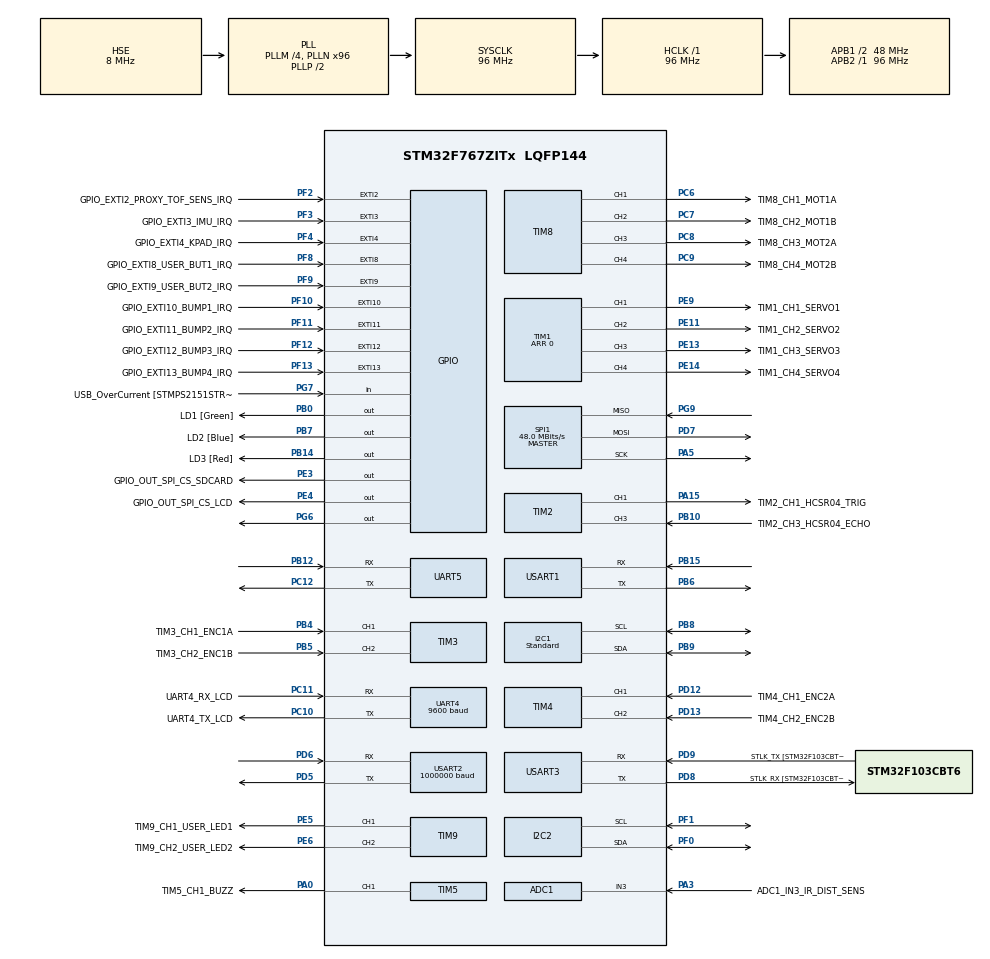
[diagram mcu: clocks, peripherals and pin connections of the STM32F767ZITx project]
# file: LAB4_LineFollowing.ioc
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ADC1.Channel-1\#ChannelRegularConversion=ADC_CHANNEL_3
ADC1.NbrOfConversionFlag=1
ADC1.Rank-1\#ChannelRegularConversion=1
ADC1.SamplingTime-1\#ChannelRegularConversion=ADC_SAMPLETIME_3CYCLES
ADC1.master=1
I2C1.I2C_Speed_Mode=I2C_Standard
I2C1.Timing=0x20303E5D
I2C2.Timing=0x20303E5D
Mcu.Family=STM32F7
Mcu.Name=STM32F767ZITx
Mcu.Package=LQFP144
Mcu.UserConstants=TIM3_ARR_VALUE,3839;TIM4_ARR_VALUE,3839;TIM8_PSC_VALUE,959;TIM8_ARR_VALUE,399;TIM6_PSC_VALUE,959;TIM6_ARR_VALUE,999;TIM1_PSC_VALUE,959;TIM1_ARR_VALUE,1999
NVIC.EXTI9_5_IRQn=true\:0\:0\:false\:false\:true\:true\:true\:true
NVIC.PriorityGroup=NVIC_PRIORITYGROUP_4
NVIC.TIM6_DAC_IRQn=true\:1\:0\:true\:false\:true\:true\:true\:true
PA0/WKUP.GPIO_Label=TIM5_CH1_BUZZ
PA0/WKUP.Signal=S_TIM5_CH1
PA1.GPIO_Label=RMII_REF_CLK [LAN8742A-CZ-TR_REFCLK0]
PA1.Signal=ETH_REF_CLK
PA10.GPIO_Label=USB_ID
PA10.Signal=USB_OTG_FS_ID
PA11.GPIO_Label=USB_DM
PA11.Signal=USB_OTG_FS_DM
PA12.GPIO_Label=USB_DP
PA12.Signal=USB_OTG_FS_DP
PA13.GPIO_Label=TMS
PA13.Mode=Serial_Wire
PA13.Signal=SYS_JTMS-SWDIO
PA14.GPIO_Label=TCK
PA14.Mode=Serial_Wire
PA14.Signal=SYS_JTCK-SWCLK
PA15.GPIO_Label=TIM2_CH1_HCSR04_TRIG
PA15.Signal=S_TIM2_CH1_ETR
PA2.GPIO_Label=RMII_MDIO [LAN8742A-CZ-TR_MDIO]
PA2.Signal=ETH_MDIO
PA3.GPIO_Label=ADC1_IN3_IR_DIST_SENS
PA3.Signal=ADCx_IN3
PA5.Mode=Full_Duplex_Master
PA5.Signal=SPI1_SCK
PA7.GPIO_Label=RMII_CRS_DV [LAN8742A-CZ-TR_CRS_DV]
PA7.Signal=ETH_CRS_DV
PA8.GPIO_Label=USB_SOF [TP1]
PA8.Signal=USB_OTG_FS_SOF
PA9.GPIO_Label=USB_VBUS
PA9.Signal=USB_OTG_FS_VBUS
PB0.GPIO_Label=LD1 [Green]
PB0.Signal=GPIO_Output
PB10.GPIO_Label=TIM2_CH3_HCSR04_ECHO
PB10.Signal=S_TIM2_CH3
PB12.Mode=Asynchronous
PB12.Signal=UART5_RX
PB13.GPIO_Label=RMII_TXD1 [LAN8742A-CZ-TR_TXD1]
PB13.Signal=ETH_TXD1
PB14.GPIO_Label=LD3 [Red]
PB14.Signal=GPIO_Output
PB15.Mode=Asynchronous
PB15.Signal=USART1_RX
PB3.GPIO_Label=SWO
PB3.Signal=SYS_JTDO-SWO
PB4.GPIO_Label=TIM3_CH1_ENC1A
PB4.Signal=S_TIM3_CH1
PB5.GPIO_Label=TIM3_CH2_ENC1B
PB5.Signal=S_TIM3_CH2
PB6.Mode=Asynchronous
PB6.Signal=USART1_TX
PB7.GPIO_Label=LD2 [Blue]
PB7.Signal=GPIO_Output
PB8.GPIO_Pu=GPIO_PULLUP
PB8.Mode=I2C
PB8.Signal=I2C1_SCL
PB9.GPIO_Pu=GPIO_PULLUP
PB9.Mode=I2C
PB9.Signal=I2C1_SDA
PC1.GPIO_Label=RMII_MDC [LAN8742A-CZ-TR_MDC]
PC1.Signal=ETH_MDC
PC10.GPIO_Label=UART4_TX_LCD
PC10.Mode=Asynchronous
PC10.Signal=UART4_TX
PC11.GPIO_Label=UART4_RX_LCD
PC11.Mode=Asynchronous
PC11.Signal=UART4_RX
PC12.Mode=Asynchronous
PC12.Signal=UART5_TX
PC14/OSC32_IN.Mode=LSE-External-Oscillator
PC14/OSC32_IN.Signal=RCC_OSC32_IN
PC15/OSC32_OUT.Mode=LSE-External-Oscillator
PC15/OSC32_OUT.Signal=RCC_OSC32_OUT
PC4.GPIO_Label=RMII_RXD0 [LAN8742A-CZ-TR_RXD0]
PC4.Signal=ETH_RXD0
PC5.GPIO_Label=RMII_RXD1 [LAN8742A-CZ-TR_RXD1]
PC5.Signal=ETH_RXD1
PC6.GPIO_Label=TIM8_CH1_MOT1A
PC6.Signal=S_TIM8_CH1
PC7.GPIO_Label=TIM8_CH2_MOT1B
PC7.Signal=S_TIM8_CH2
PC8.GPIO_Label=TIM8_CH3_MOT2A
PC8.Signal=S_TIM8_CH3
PC9.GPIO_Label=TIM8_CH4_MOT2B
PC9.Signal=S_TIM8_CH4
PD12.GPIO_Label=TIM4_CH1_ENC2A
PD12.Signal=S_TIM4_CH1
PD13.GPIO_Label=TIM4_CH2_ENC2B
PD13.Signal=S_TIM4_CH2
PD5.Mode=Asynchronous
PD5.Signal=USART2_TX
PD6.Mode=Asynchronous
PD6.Signal=USART2_RX
PD7.Mode=Full_Duplex_Master
PD7.Signal=SPI1_MOSI
PD8.GPIO_Label=STLK_RX [STM32F103CBT6_PA3]
PD8.Mode=Asynchronous
PD8.Signal=USART3_TX
PD9.GPIO_Label=STLK_TX [STM32F103CBT6_PA2]
PD9.Mode=Asynchronous
PD9.Signal=USART3_RX
PE11.GPIO_Label=TIM1_CH2_SERVO2
PE11.Signal=S_TIM1_CH2
PE13.GPIO_Label=TIM1_CH3_SERVO3
PE13.Signal=S_TIM1_CH3
PE14.GPIO_Label=TIM1_CH4_SERVO4
PE14.Signal=S_TIM1_CH4
PE3.GPIO_Label=GPIO_OUT_SPI_CS_SDCARD
PE3.Signal=GPIO_Output
PE4.GPIO_Label=GPIO_OUT_SPI_CS_LCD
PE4.Signal=GPIO_Output
PE5.GPIO_Label=TIM9_CH1_USER_LED1
PE5.Signal=S_TIM9_CH1
PE6.GPIO_Label=TIM9_CH2_USER_LED2
PE6.Signal=S_TIM9_CH2
PE9.GPIO_Label=TIM1_CH1_SERVO1
PE9.Signal=S_TIM1_CH1
PF0.GPIO_Pu=GPIO_PULLUP
PF0.Mode=I2C
PF0.Signal=I2C2_SDA
PF1.GPIO_Pu=GPIO_PULLUP
PF1.Mode=I2C
PF1.Signal=I2C2_SCL
PF10.GPIO_Label=GPIO_EXTI10_BUMP1_IRQ
PF10.Signal=GPXTI10
PF11.GPIO_Label=GPIO_EXTI11_BUMP2_IRQ
PF11.Signal=GPXTI11
PF12.GPIO_Label=GPIO_EXTI12_BUMP3_IRQ
PF12.Signal=GPXTI12
PF13.GPIO_Label=GPIO_EXTI13_BUMP4_IRQ
PF13.Signal=GPXTI13
PF2.GPIO_Label=GPIO_EXTI2_PROXY_TOF_SENS_IRQ
PF2.Signal=GPXTI2
PF3.GPIO_Label=GPIO_EXTI3_IMU_IRQ
PF3.Signal=GPXTI3
PF4.GPIO_Label=GPIO_EXTI4_KPAD_IRQ
PF4.Signal=GPXTI4
PF8.GPIO_Label=GPIO_EXTI8_USER_BUT1_IRQ
PF8.Signal=GPXTI8
PF9.GPIO_Label=GPIO_EXTI9_USER_BUT2_IRQ
PF9.Signal=GPXTI9
PG11.GPIO_Label=RMII_TX_EN [LAN8742A-CZ-TR_TXEN]
PG11.Signal=ETH_TX_EN
PG13.GPIO_Label=RMII_TXD0 [LAN8742A-CZ-TR_TXD0]
PG13.Signal=ETH_TXD0
PG6.Signal=GPIO_Output
PG7.GPIO_Label=USB_OverCurrent [STMPS2151STR_FAULT]
PG7.Signal=GPIO_Input
PG9.Mode=Full_Duplex_Master
PG9.Signal=SPI1_MISO
PH0/OSC_IN.GPIO_Label=MCO [STM32F103CBT6_PA8]
PH0/OSC_IN.Mode=HSE-External-Clock-Source
PH0/OSC_IN.Signal=RCC_OSC_IN
PH1/OSC_OUT.Mode=HSE-External-Clock-Source
PH1/OSC_OUT.Signal=RCC_OSC_OUT
ProjectManager.HeapSize=0x200
ProjectManager.StackSize=0x400
ProjectManager.TargetToolchain=STM32CubeIDE
RCC.48MHZClocksFreq_Value=24000000
RCC.AHBFreq_Value=96000000
RCC.APB1CLKDivider=RCC_HCLK_DIV2
RCC.APB1Freq_Value=48000000
RCC.APB1TimFreq_Value=96000000
RCC.APB2Freq_Value=96000000
RCC.APB2TimFreq_Value=96000000
RCC.CortexFreq_Value=96000000
RCC.HCLKFreq_Value=96000000
RCC.HSE_VALUE=8000000
RCC.HSI_VALUE=16000000
RCC.PLLM=4
RCC.PLLMUL=RCC_PLL_MUL9
RCC.PLLN=96
RCC.PLLQ=4
RCC.PLLSourceVirtual=RCC_PLLSOURCE_HSE
RCC.PRESCALERUSB=RCC_USBCLKSOURCE_PLL_DIV1_5
RCC.SYSCLKFreq_VALUE=96000000
RCC.SYSCLKSource=RCC_SYSCLKSOURCE_PLLCLK
RCC.SYSCLKSourceVirtual=RCC_SYSCLKSOURCE_PLLCLK
RCC.USBFreq_Value=48000000
RCC.VCOOutputFreq_Value=192000000
SH.ADCx_IN3.0=ADC1_IN3,IN3
SH.S_TIM1_CH1.0=TIM1_CH1,Forced Output1 CH1
SH.S_TIM1_CH2.0=TIM1_CH2,Forced Output2 CH2
SH.S_TIM1_CH3.0=TIM1_CH3,Forced Output3 CH3
SH.S_TIM1_CH4.0=TIM1_CH4,Forced Output4 CH4
SH.S_TIM2_CH1_ETR.0=TIM2_CH1,PWM Generation1 CH1
SH.S_TIM2_CH3.0=TIM2_CH3,Input_Capture3_from_TI3
SH.S_TIM3_CH1.0=TIM3_CH1,Encoder_Interface
SH.S_TIM3_CH2.0=TIM3_CH2,Encoder_Interface
SH.S_TIM4_CH1.0=TIM4_CH1,Encoder_Interface
SH.S_TIM4_CH2.0=TIM4_CH2,Encoder_Interface
SH.S_TIM5_CH1.0=TIM5_CH1,PWM Generation1 CH1
SH.S_TIM8_CH1.0=TIM8_CH1,PWM Generation1 CH1
SH.S_TIM8_CH2.0=TIM8_CH2,PWM Generation2 CH2
SH.S_TIM8_CH3.0=TIM8_CH3,PWM Generation3 CH3
SH.S_TIM8_CH4.0=TIM8_CH4,PWM Generation4 CH4
SH.S_TIM9_CH1.0=TIM9_CH1,PWM Generation1 CH1
SH.S_TIM9_CH2.0=TIM9_CH2,PWM Generation2 CH2
SPI1.CalculateBaudRate=48.0 MBits/s
SPI1.Direction=SPI_DIRECTION_2LINES
SPI1.Mode=SPI_MODE_MASTER
SPI1.VirtualType=VM_MASTER
TIM1.Channel-Forced\ Output1\ CH1=TIM_CHANNEL_1
TIM1.Channel-Forced\ Output2\ CH2=TIM_CHANNEL_2
TIM1.Channel-Forced\ Output3\ CH3=TIM_CHANNEL_3
TIM1.Channel-Forced\ Output4\ CH4=TIM_CHANNEL_4
TIM1.OCPolarity_1=TIM_OCPOLARITY_LOW
TIM1.OCPolarity_2=TIM_OCPOLARITY_LOW
TIM1.OCPolarity_3=TIM_OCPOLARITY_LOW
TIM1.OCPolarity_4=TIM_OCPOLARITY_LOW
TIM1.Period=0
TIM2.Channel-Input_Capture3_from_TI3=TIM_CHANNEL_3
TIM2.Channel-PWM\ Generation1\ CH1=TIM_CHANNEL_1
TIM3.EncoderMode=TIM_ENCODERMODE_TI12
TIM3.IC1Filter=15
TIM3.IC2Filter=15
TIM3.Period=TIM3_ARR_VALUE
TIM4.EncoderMode=TIM_ENCODERMODE_TI12
TIM4.IC1Filter=15
TIM4.IC2Filter=15
TIM4.Period=TIM4_ARR_VALUE
TIM5.Channel-PWM\ Generation1\ CH1=TIM_CHANNEL_1
TIM6.Period=TIM6_ARR_VALUE
TIM6.Prescaler=TIM6_PSC_VALUE
TIM8.Channel-PWM\ Generation1\ CH1=TIM_CHANNEL_1
TIM8.Channel-PWM\ Generation2\ CH2=TIM_CHANNEL_2
TIM8.Channel-PWM\ Generation3\ CH3=TIM_CHANNEL_3
TIM8.Channel-PWM\ Generation4\ CH4=TIM_CHANNEL_4
TIM8.Period=TIM8_ARR_VALUE
TIM8.Prescaler=TIM8_PSC_VALUE
TIM9.Channel-PWM\ Generation1\ CH1=TIM_CHANNEL_1
TIM9.Channel-PWM\ Generation2\ CH2=TIM_CHANNEL_2
UART4.BaudRate=9600
USART1.VirtualMode-Asynchronous=VM_ASYNC
USART2.BaudRate=1000000
USART2.VirtualMode-Asynchronous=VM_ASYNC
USART3.VirtualMode-Asynchronous=VM_ASYNC
VP_TIM1_VS_ClockSourceINT.Mode=Internal
VP_TIM2_VS_ClockSourceINT.Mode=Internal
VP_TIM5_VS_ClockSourceINT.Mode=Internal
VP_TIM6_VS_ClockSourceINT.Mode=Enable_Timer
VP_TIM8_VS_ClockSourceINT.Mode=Internal
board=NUCLEO-F767ZI

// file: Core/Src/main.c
/* USER CODE BEGIN Header */
/**
 ******************************************************************************
 * @file           : main.c
 * @brief          : Main program body
 ******************************************************************************
 * @attention
 *
 * <h2><center>&copy; Copyright (c) 2021 STMicroelectronics.
 * All rights reserved.</center></h2>
 *
 * This software component is licensed by ST under BSD 3-Clause license,
 * the "License"; You may not use this file except in compliance with the
 * License. You may obtain a copy of the License at:
 *                        opensource.org/licenses/BSD-3-Clause
 *
 ******************************************************************************
 */
/* USER CODE END Header */
#include "main.h"

/* USER CODE BEGIN Includes */
#include <math.h>
#include <stdlib.h>
#include <stdbool.h>
#include "ertc-datalogger.h"
#include <stdio.h>
#include "SX1509_Registers.h"

/* USER CODE END Includes */

/* USER CODE BEGIN PD */
#define SX1509_I2C_ADDR1 0x3E //	SX1509 Proxy Sensors I2C address
#define HAL_TIMEOUT 100
#define I2C_TIMEOUT 200
#define TS	0.01

#define VBATT	8.0
#define V2DUTY	((float)(TIM8_ARR_VALUE+1)/VBATT)
#define DUTY2V	((float)VBATT/(TIM8_ARR_VALUE+1))
#define RPM2RADS	2*M_PI/60

typedef enum {
	MOTOR_A,
	MOTOR_B
} MotorID;
typedef enum {
	SPEED_DUTY_TYPE,
	SPEED_CURRENT_TYPE
} SpeedType;

/* USER CODE END PD */

ADC_HandleTypeDef hadc1;

I2C_HandleTypeDef hi2c1;
I2C_HandleTypeDef hi2c2;

SPI_HandleTypeDef hspi1;

TIM_HandleTypeDef htim1;
TIM_HandleTypeDef htim2;
TIM_HandleTypeDef htim3;
TIM_HandleTypeDef htim4;
TIM_HandleTypeDef htim5;
TIM_HandleTypeDef htim6;
TIM_HandleTypeDef htim8;
TIM_HandleTypeDef htim9;

UART_HandleTypeDef huart4;
UART_HandleTypeDef huart5;
UART_HandleTypeDef huart1;
UART_HandleTypeDef huart2;
UART_HandleTypeDef huart3;

/* USER CODE BEGIN PV */

struct ertc_dlog logger;

float dutyMotorA = 0;
float dutyMotorB = 0;

// Modify the base speed in order to make the car slower/faster
float SPEED_REFERENCE_A = 0;
float SPEED_REFERENCE_B = 0;
float BASE_SPEED = 10; 			// rads/s

// for line sensor
int8_t w[] = {-28, -20, -12, -4, 4, 12, 20, 28}; // distances
int8_t e = 0; 					// error
int8_t prev_error = -28; 		// prev error max deviation from center

/* USER CODE END PV */

void SystemClock_Config(void);
static void MX_GPIO_Init(void);
static void MX_USART3_UART_Init(void);
static void MX_ADC1_Init(void);
static void MX_I2C1_Init(void);
static void MX_I2C2_Init(void);
static void MX_SPI1_Init(void);
static void MX_TIM1_Init(void);
static void MX_TIM2_Init(void);
static void MX_TIM3_Init(void);
static void MX_TIM4_Init(void);
static void MX_TIM5_Init(void);
static void MX_TIM8_Init(void);
static void MX_UART4_Init(void);
static void MX_UART5_Init(void);
static void MX_USART1_UART_Init(void);
static void MX_USART2_UART_Init(void);
static void MX_TIM9_Init(void);
static void MX_TIM6_Init(void);

/* USER CODE BEGIN 0 */

struct datalog {
	float encoderA, speedA;
	float encoderB, speedB;
	float errorLine;
} data;

// ----- ENCODER -----
struct encoder_instance{
	float velocity;
	float radians_second;
	uint32_t previous_count;
};
typedef struct encoder_instance EncoderInstance; //two encoders
EncoderInstance encoder_instance_motA;
EncoderInstance encoder_instance_motB;
// Duty cycle
#define MIN_PMW 0

// ------- PID -------
#define INTEGRAL_MAX_GAIN 2000
typedef struct {
	float p_gain;
	float i_gain;
	float d_gain;
	float error_integral;
	float last_error;
	float output;
} PIDInstance;
PIDInstance pid_A;
PIDInstance pid_B;
PIDInstance pid_line;

// accurately determining the velocity and radians per second of an encoder based on the count of a timer peripheral.
void update_encoder(EncoderInstance *encoder_value, TIM_HandleTypeDef *htim)
{
	// __HAL_TIM_GET_AUTORELOAD(htim) retrieves the value of the auto-reload register (ARR). Professor used "ARR - 1" in the function given by him. Check if we need -1 when using the HAL macro.

	uint32_t TIM_CurrentCount = __HAL_TIM_GET_COUNTER(htim);
	static bool first_time = 1;
	//For the first call of the function assume velocity is zero
	if(first_time)
	{
		encoder_value ->velocity = 0;
		first_time = 0;
	}
	else
	{
		// This one is self explanatory, if the current counter is the same as the previous the velocity is 0
		if(TIM_CurrentCount == encoder_value->previous_count)
		{
			encoder_value->velocity = 0;
		}
		// Moving FORWARD; evaluate increment of TIM counter from previous count
		else if (__HAL_TIM_IS_TIM_COUNTING_DOWN(htim))
		{
			// check for counter underflow
			if (TIM_CurrentCount < encoder_value->previous_count)
				encoder_value->velocity = TIM_CurrentCount - encoder_value->previous_count;
			else
				encoder_value->velocity = -((__HAL_TIM_GET_AUTORELOAD(htim)+1) - TIM_CurrentCount) - encoder_value->previous_count;//__HAL_TIM_GET_AUTORELOAD(htim)+1
		}
		// Moving BACKWARDS
		else
		{
			/* check for counter overflow */
			if (TIM_CurrentCount > encoder_value->previous_count)
				encoder_value->velocity = TIM_CurrentCount - encoder_value->previous_count;
			else
				encoder_value->velocity = ((__HAL_TIM_GET_AUTORELOAD(htim)+1) - encoder_value->previous_count) + TIM_CurrentCount;
		}
	}
	encoder_value->radians_second = (((encoder_value->velocity)/3840)/TS)*(2*M_PI);
	encoder_value->previous_count = TIM_CurrentCount;
}

void set_pid_gains(PIDInstance *pid, float p, float i, float d) {
	pid->p_gain = p;
	pid->i_gain = i;
	pid->d_gain = d;
}

void reset_pid(PIDInstance *pid) {
	pid->error_integral = 0;
	pid->last_error = 0;
	pid->output = 0;
}

void apply_pid(PIDInstance *pid, float input_error, int16_t PID_MAX, int16_t sampling_rate) {
	// Accumulate error for integral control
	pid->error_integral += input_error;

	// Bound integral term
	if (pid->error_integral > INTEGRAL_MAX_GAIN)
		pid->error_integral = INTEGRAL_MAX_GAIN;
	else if (pid->error_integral < -INTEGRAL_MAX_GAIN)
		pid->error_integral = -INTEGRAL_MAX_GAIN;

	// Compute PID output
	pid->output = (float)(
			pid->p_gain * input_error +
			pid->i_gain * (pid->error_integral) / sampling_rate +
			pid->d_gain * sampling_rate * (input_error - pid->last_error)
	);
	// sampling_rate in Hz, that s why in Integral is '/' instead of '*' and in Derivative '*' instead of '/' (Hz = 1/s)

	// Bound output
	if (pid->output > PID_MAX)
		pid->output = PID_MAX;
	else if (pid->output < -PID_MAX)
		pid->output = -PID_MAX;

	// Update last error for derivative control
	pid->last_error = input_error;
}

void HAL_TIM_PeriodElapsedCallback(TIM_HandleTypeDef *htim)
{
	/* Speed control routine */
	if(htim->Instance == TIM6)
	{

		// ------------ ENCODER READING ------------
		update_encoder(&encoder_instance_motA, &htim3);
		update_encoder(&encoder_instance_motB, &htim4);
		//printf("Encoder A RADs: %d Encoder B RADs: %d \n", (int)encoder_instance_motA.radians_second,(int)encoder_instance_motB.radians_second);

		// ---------- END ENCODER READING ----------

		// ------- LINE SENSOR ERROR READING -------

		static uint8_t line_data[1];
		HAL_I2C_Mem_Read(&hi2c1, SX1509_I2C_ADDR1 << 1, 0x10, 1, line_data, 1, 100);
		//printf("Reflectance Sensor reading: %d \n", (uint8_t)line_data[0]);
		int sum_of_bits = 0;
		for (int i = 0; i < 8; i++) {
			// take the i-th bit of sensor
			uint8_t bit_i = (line_data[0] >> i) & 1;
			// compute the sum of the denominator in the error formula
			sum_of_bits += bit_i;
			// compute the sum of the numerator in the error formula bn*wn
			e += bit_i * w[i];
		}

		if (sum_of_bits != 0)	 // avoiding division by zero
			e = e / sum_of_bits;

		// if previous values were not zero, and current value is zero, then increase the error to correct the YAW
		else if (prev_error < 0) // if previous error was negative
			e = -40;
		else if (prev_error > 0) // if was positive
			e = 40;

		printf("Error:%d",e);
		// store current error for next iteration
		prev_error = e;

		// ------ END LINE SENSOR ERROR READING ------

		// ---------- PID LINE SENSOR ERROR  ----------
		apply_pid(&pid_line, e, 10, 100); // 3 is the pid_line.output limit
		SPEED_REFERENCE_A = BASE_SPEED - pid_line.output ;
		SPEED_REFERENCE_B = BASE_SPEED + pid_line.output ;
		// ---------- END PID LINE SENSOR ERROR  ----------

		// ---------- PID TO RUN MOTOR ------------

		if(pid_A.p_gain != 0 || pid_A.i_gain != 0 || pid_A.d_gain != 0)
		{
			apply_pid(&pid_A, SPEED_REFERENCE_A - encoder_instance_motA.radians_second, 399, 100); //96000000/(960*1000) = 100
			if(pid_A.output < MIN_PMW)
			    {
			        // If so, set it to the minimum value
			        pid_A.output = -MIN_PMW;
			    }
			if(pid_A.output > 0)
			{
				__HAL_TIM_SET_COMPARE(&htim8, TIM_CHANNEL_1, (int32_t)pid_A.output);
				__HAL_TIM_SET_COMPARE(&htim8, TIM_CHANNEL_2, 0);
			}
			else
			{
				__HAL_TIM_SET_COMPARE(&htim8, TIM_CHANNEL_1, 0);
				__HAL_TIM_SET_COMPARE(&htim8, TIM_CHANNEL_2, (int32_t)pid_A.output);
			}
		}
		else
		{
			__HAL_TIM_SET_COMPARE(&htim8, TIM_CHANNEL_1, 0); // value between 0 and ARR (in our case, for TIM8, ARR = 399)
			__HAL_TIM_SET_COMPARE(&htim8, TIM_CHANNEL_2, 0);
		}

		if(pid_B.p_gain != 0 || pid_B.i_gain != 0 || pid_B.d_gain != 0)
		{
			apply_pid(&pid_B, SPEED_REFERENCE_B - encoder_instance_motB.radians_second, 399,100); //96000000/(960*1000) = 100
			if(pid_B.output < MIN_PMW)
			    {
			        // If so, set it to the minimum value
			        pid_B.output = -MIN_PMW;
			    }
			if(pid_B.output > 0)
			{
				__HAL_TIM_SET_COMPARE(&htim8, TIM_CHANNEL_3, (int32_t)pid_B.output);
				__HAL_TIM_SET_COMPARE(&htim8, TIM_CHANNEL_4, 0);
			}
			else
			{
				__HAL_TIM_SET_COMPARE(&htim8, TIM_CHANNEL_3, 0);
				__HAL_TIM_SET_COMPARE(&htim8, TIM_CHANNEL_4, (int32_t)pid_B.output);
			}
		}
		else
		{
			__HAL_TIM_SET_COMPARE(&htim8, TIM_CHANNEL_3, 0); // value between 0 and ARR (in our case, for TIM8, ARR = 399)
			__HAL_TIM_SET_COMPARE(&htim8, TIM_CHANNEL_4, 0);
		}

		// ---------- END PID TO RUN MOTOR ------------

		// ---------------- LOGGER ------------------
		data.speedA = SPEED_REFERENCE_A;
		data.speedB = SPEED_REFERENCE_B;
		data.encoderA = encoder_instance_motA.radians_second;
		data.encoderB = encoder_instance_motB.radians_second;
		data.errorLine = e;
		ertc_dlog_send(&logger, &data, sizeof(data));

	}
}

void HAL_GPIO_EXTI_Callback(uint16_t GPIO_Pin)
{
	if(GPIO_Pin == GPIO_PIN_9) // If The INT Source Is EXTI Line9 (A9 Pin)
	{
		printf("INTERUPT \n");
	}
}

/* USER CODE END 0 */

int main(void)
{
  /* USER CODE BEGIN 1 */
	uint8_t data;
	HAL_StatusTypeDef status;
  /* USER CODE END 1 */

  /* MCU Configuration--------------------------------------------------------*/

  /* Reset of all peripherals, Initializes the Flash interface and the Systick. */
  HAL_Init();

  /* Configure the system clock */
  SystemClock_Config();

  /* Initialize all configured peripherals */
  MX_GPIO_Init();
  MX_USART3_UART_Init();
  MX_ADC1_Init();
  MX_I2C1_Init();
  MX_I2C2_Init();
  MX_SPI1_Init();
  MX_TIM1_Init();
  MX_TIM2_Init();
  MX_TIM3_Init();
  MX_TIM4_Init();
  MX_TIM5_Init();
  MX_TIM8_Init();
  MX_UART4_Init();
  MX_UART5_Init();
  MX_USART1_UART_Init();
  MX_USART2_UART_Init();
  MX_TIM9_Init();
  MX_TIM6_Init();
  /* USER CODE BEGIN 2 */
	//--------------------------------------------------------------------------------------------

	/* Disable LCD SPI SS */
	HAL_GPIO_WritePin(GPIO_OUT_SPI_CS_LCD_GPIO_Port, GPIO_OUT_SPI_CS_LCD_Pin, GPIO_PIN_SET);
	/* Disable EXTI2_IRQ during SX1509 initialization */
	//HAL_NVIC_DisableIRQ(EXTI2_IRQn);

	/* Software reset */
	data = 0x12;
	status = HAL_I2C_Mem_Write(&hi2c1, SX1509_I2C_ADDR1 << 1, REG_RESET, 1, &data, 1, I2C_TIMEOUT);
	if (status != HAL_OK)
		printf("I2C communication error (%X).\n", status);

	data = 0x34;
	status = HAL_I2C_Mem_Write(&hi2c1, SX1509_I2C_ADDR1 << 1, REG_RESET, 1, &data, 1, I2C_TIMEOUT);
	if (status != HAL_OK)
		printf("I2C communication error (%X).\n", status);

	HAL_Delay(100);

	/* Set RegDirA to 0xFF (all IO of Bank A configured as inputs) */
	data = 0xFF; // 0 = out; 1 = in
	status = HAL_I2C_Mem_Write(&hi2c1, SX1509_I2C_ADDR1 << 1, REG_DIR_A, 1, &data, 1, I2C_TIMEOUT);
	if (status != HAL_OK)
		printf("I2C communication error (%X).\n", status);

	/* Set RegDirB to 0xFF (all IO of Bank B configured as inputs) */
	data = 0xFF; // 0 = out; 1 = in
	status = HAL_I2C_Mem_Write(&hi2c1, SX1509_I2C_ADDR1 << 1, REG_DIR_B, 1, &data, 1, I2C_TIMEOUT);
	if (status != HAL_OK)
		printf("I2C communication error (%X).\n", status);

	/* Set RegInterruptMaskA to 0x00 (all IO of Bank A will trigger an interrupt) */
	data = 0x00;
	status = HAL_I2C_Mem_Write(&hi2c1, SX1509_I2C_ADDR1 << 1, REG_INTERRUPT_MASK_A, 1, &data, 1, I2C_TIMEOUT);
	if (status != HAL_OK)
		printf("I2C communication error (%X).\n", status);

	/* Set RegSenseHighA to 0xAA (IO[7:4] of Bank A will trigger an interrupt on falling edge) */
	data = 0xAA;
	status = HAL_I2C_Mem_Write(&hi2c1, SX1509_I2C_ADDR1 << 1, REG_SENSE_HIGH_A, 1, &data, 1, I2C_TIMEOUT);
	if (status != HAL_OK)
		printf("I2C communication error (%X).\n", status);

	/* Set RegSenseLowA to 0xAA (IO[3:0] of Bank A will trigger an interrupt on falling edge) */
	data = 0xAA;
	status = HAL_I2C_Mem_Write(&hi2c1, SX1509_I2C_ADDR1 << 1, REG_SENSE_LOW_A, 1, &data, 1, I2C_TIMEOUT);
	if (status != HAL_OK)
		printf("I2C communication error (%X).\n", status);

	/* Enable EXTI2_IRQ after SX1509 initialization */
	HAL_Delay(100);
	//HAL_NVIC_EnableIRQ(EXTI2_IRQn);

	printf("Read line sensor \n");
	//--------------------------------------------------------------------------------------

	//logger.uart_handle = huart3; // for serial
	logger.uart_handle = huart2; // for wifi

	/* Reset LCD */
	HAL_GPIO_WritePin(GPIO_OUT_SPI_CS_LCD_GPIO_Port, GPIO_OUT_SPI_CS_LCD_Pin, GPIO_PIN_SET);

	HAL_Delay(1000);

	/* Start encoders timers */
	HAL_TIM_Encoder_Start(&htim3, TIM_CHANNEL_ALL);
	HAL_TIM_Encoder_Start(&htim4, TIM_CHANNEL_ALL);

	/* Start servomotors PWM (avoid floating inputs to servomotors) */
	HAL_TIM_PWM_Start(&htim1, TIM_CHANNEL_1);
	HAL_TIM_PWM_Start(&htim1, TIM_CHANNEL_2);
	HAL_TIM_PWM_Start(&htim1, TIM_CHANNEL_3);
	HAL_TIM_PWM_Start(&htim1, TIM_CHANNEL_4);

	/* Start motor PWM */
	__HAL_TIM_SET_COMPARE(&htim8, TIM_CHANNEL_1, 0);
	__HAL_TIM_SET_COMPARE(&htim8, TIM_CHANNEL_2, 0);
	__HAL_TIM_SET_COMPARE(&htim8, TIM_CHANNEL_3, 0);
	__HAL_TIM_SET_COMPARE(&htim8, TIM_CHANNEL_4, 0);

	HAL_TIM_PWM_Start(&htim8, TIM_CHANNEL_1);
	HAL_TIM_PWM_Start(&htim8, TIM_CHANNEL_2);
	HAL_TIM_PWM_Start(&htim8, TIM_CHANNEL_3);
	HAL_TIM_PWM_Start(&htim8, TIM_CHANNEL_4);

	/* Start speed ctrl ISR */
	HAL_TIM_Base_Start_IT(&htim6);

	// ########## SET UP HERE THE PID #######################################################################################################################

	// ------------------------- PID MOTOR A (right) -------------------------
	reset_pid(&pid_A);
	set_pid_gains(&pid_A,90,0.1,0);

	// ------------------------- PID MOTOR B (left) --------------------------
	reset_pid(&pid_B);
	set_pid_gains(&pid_B,90,0.1,0);

	// -------------------------- PID line sensor ----------------------------
	reset_pid(&pid_line);
	//I choosed 0.05 bcz for error=40 we have BASE_SPEED - Kp*40 = BASE_SPEED - 2 => a change of 2rad/s in speed
	set_pid_gains(&pid_line,0.275,0.01,0); //0.175 0.01

  /* USER CODE END 2 */

  /* Infinite loop */
	while (1)
	{

    /* USER CODE BEGIN 3 */
		ertc_dlog_update(&logger);
	}
  /* USER CODE END 3 */
}

void SystemClock_Config(void)
{
  RCC_OscInitTypeDef RCC_OscInitStruct = {0};
  RCC_ClkInitTypeDef RCC_ClkInitStruct = {0};

  /** Configure LSE Drive Capability
  */
  HAL_PWR_EnableBkUpAccess();

  /** Configure the main internal regulator output voltage
  */
  __HAL_RCC_PWR_CLK_ENABLE();
  __HAL_PWR_VOLTAGESCALING_CONFIG(PWR_REGULATOR_VOLTAGE_SCALE3);

  /** Initializes the RCC Oscillators according to the specified parameters
  * in the RCC_OscInitTypeDef structure.
  */
  RCC_OscInitStruct.OscillatorType = RCC_OSCILLATORTYPE_HSE;
  RCC_OscInitStruct.HSEState = RCC_HSE_BYPASS;
  RCC_OscInitStruct.PLL.PLLState = RCC_PLL_ON;
  RCC_OscInitStruct.PLL.PLLSource = RCC_PLLSOURCE_HSE;
  RCC_OscInitStruct.PLL.PLLM = 4;
  RCC_OscInitStruct.PLL.PLLN = 96;
  RCC_OscInitStruct.PLL.PLLP = RCC_PLLP_DIV2;
  RCC_OscInitStruct.PLL.PLLQ = 4;
  RCC_OscInitStruct.PLL.PLLR = 2;
  if (HAL_RCC_OscConfig(&RCC_OscInitStruct) != HAL_OK)
  {
    Error_Handler();
  }

  /** Activate the Over-Drive mode
  */
  if (HAL_PWREx_EnableOverDrive() != HAL_OK)
  {
    Error_Handler();
  }

  /** Initializes the CPU, AHB and APB buses clocks
  */
  RCC_ClkInitStruct.ClockType = RCC_CLOCKTYPE_HCLK|RCC_CLOCKTYPE_SYSCLK
                              |RCC_CLOCKTYPE_PCLK1|RCC_CLOCKTYPE_PCLK2;
  RCC_ClkInitStruct.SYSCLKSource = RCC_SYSCLKSOURCE_PLLCLK;
  RCC_ClkInitStruct.AHBCLKDivider = RCC_SYSCLK_DIV1;
  RCC_ClkInitStruct.APB1CLKDivider = RCC_HCLK_DIV2;
  RCC_ClkInitStruct.APB2CLKDivider = RCC_HCLK_DIV1;

  if (HAL_RCC_ClockConfig(&RCC_ClkInitStruct, FLASH_LATENCY_3) != HAL_OK)
  {
    Error_Handler();
  }
}

static void MX_ADC1_Init(void)
{

  ADC_ChannelConfTypeDef sConfig = {0};

  /** Configure the global features of the ADC (Clock, Resolution, Data Alignment and number of conversion)
  */
  hadc1.Instance = ADC1;
  hadc1.Init.ClockPrescaler = ADC_CLOCK_SYNC_PCLK_DIV4;
  hadc1.Init.Resolution = ADC_RESOLUTION_12B;
  hadc1.Init.ScanConvMode = ADC_SCAN_DISABLE;
  hadc1.Init.ContinuousConvMode = DISABLE;
  hadc1.Init.DiscontinuousConvMode = DISABLE;
  hadc1.Init.ExternalTrigConvEdge = ADC_EXTERNALTRIGCONVEDGE_NONE;
  hadc1.Init.ExternalTrigConv = ADC_SOFTWARE_START;
  hadc1.Init.DataAlign = ADC_DATAALIGN_RIGHT;
  hadc1.Init.NbrOfConversion = 1;
  hadc1.Init.DMAContinuousRequests = DISABLE;
  hadc1.Init.EOCSelection = ADC_EOC_SINGLE_CONV;
  if (HAL_ADC_Init(&hadc1) != HAL_OK)
  {
    Error_Handler();
  }

  /** Configure for the selected ADC regular channel its corresponding rank in the sequencer and its sample time.
  */
  sConfig.Channel = ADC_CHANNEL_3;
  sConfig.Rank = ADC_REGULAR_RANK_1;
  sConfig.SamplingTime = ADC_SAMPLETIME_3CYCLES;
  if (HAL_ADC_ConfigChannel(&hadc1, &sConfig) != HAL_OK)
  {
    Error_Handler();
  }

}

static void MX_I2C1_Init(void)
{

  hi2c1.Instance = I2C1;
  hi2c1.Init.Timing = 0x20303E5D;
  hi2c1.Init.OwnAddress1 = 0;
  hi2c1.Init.AddressingMode = I2C_ADDRESSINGMODE_7BIT;
  hi2c1.Init.DualAddressMode = I2C_DUALADDRESS_DISABLE;
  hi2c1.Init.OwnAddress2 = 0;
  hi2c1.Init.OwnAddress2Masks = I2C_OA2_NOMASK;
  hi2c1.Init.GeneralCallMode = I2C_GENERALCALL_DISABLE;
  hi2c1.Init.NoStretchMode = I2C_NOSTRETCH_DISABLE;
  if (HAL_I2C_Init(&hi2c1) != HAL_OK)
  {
    Error_Handler();
  }

  /** Configure Analogue filter
  */
  if (HAL_I2CEx_ConfigAnalogFilter(&hi2c1, I2C_ANALOGFILTER_ENABLE) != HAL_OK)
  {
    Error_Handler();
  }

  /** Configure Digital filter
  */
  if (HAL_I2CEx_ConfigDigitalFilter(&hi2c1, 0) != HAL_OK)
  {
    Error_Handler();
  }

}

static void MX_I2C2_Init(void)
{

  hi2c2.Instance = I2C2;
  hi2c2.Init.Timing = 0x20303E5D;
  hi2c2.Init.OwnAddress1 = 0;
  hi2c2.Init.AddressingMode = I2C_ADDRESSINGMODE_7BIT;
  hi2c2.Init.DualAddressMode = I2C_DUALADDRESS_DISABLE;
  hi2c2.Init.OwnAddress2 = 0;
  hi2c2.Init.OwnAddress2Masks = I2C_OA2_NOMASK;
  hi2c2.Init.GeneralCallMode = I2C_GENERALCALL_DISABLE;
  hi2c2.Init.NoStretchMode = I2C_NOSTRETCH_DISABLE;
  if (HAL_I2C_Init(&hi2c2) != HAL_OK)
  {
    Error_Handler();
  }

  /** Configure Analogue filter
  */
  if (HAL_I2CEx_ConfigAnalogFilter(&hi2c2, I2C_ANALOGFILTER_ENABLE) != HAL_OK)
  {
    Error_Handler();
  }

  /** Configure Digital filter
  */
  if (HAL_I2CEx_ConfigDigitalFilter(&hi2c2, 0) != HAL_OK)
  {
    Error_Handler();
  }

}

static void MX_SPI1_Init(void)
{

  /* SPI1 parameter configuration*/
  hspi1.Instance = SPI1;
  hspi1.Init.Mode = SPI_MODE_MASTER;
  hspi1.Init.Direction = SPI_DIRECTION_2LINES;
  hspi1.Init.DataSize = SPI_DATASIZE_4BIT;
  hspi1.Init.CLKPolarity = SPI_POLARITY_LOW;
  hspi1.Init.CLKPhase = SPI_PHASE_1EDGE;
  hspi1.Init.NSS = SPI_NSS_SOFT;
  hspi1.Init.BaudRatePrescaler = SPI_BAUDRATEPRESCALER_2;
  hspi1.Init.FirstBit = SPI_FIRSTBIT_MSB;
  hspi1.Init.TIMode = SPI_TIMODE_DISABLE;
  hspi1.Init.CRCCalculation = SPI_CRCCALCULATION_DISABLE;
  hspi1.Init.CRCPolynomial = 7;
  hspi1.Init.CRCLength = SPI_CRC_LENGTH_DATASIZE;
  hspi1.Init.NSSPMode = SPI_NSS_PULSE_ENABLE;
  if (HAL_SPI_Init(&hspi1) != HAL_OK)
  {
    Error_Handler();
  }

}

static void MX_TIM1_Init(void)
{

  TIM_ClockConfigTypeDef sClockSourceConfig = {0};
  TIM_MasterConfigTypeDef sMasterConfig = {0};
  TIM_OC_InitTypeDef sConfigOC = {0};
  TIM_BreakDeadTimeConfigTypeDef sBreakDeadTimeConfig = {0};

  htim1.Instance = TIM1;
  htim1.Init.Prescaler = 0;
  htim1.Init.CounterMode = TIM_COUNTERMODE_UP;
  htim1.Init.Period = 0;
  htim1.Init.ClockDivision = TIM_CLOCKDIVISION_DIV1;
  htim1.Init.RepetitionCounter = 0;
  htim1.Init.AutoReloadPreload = TIM_AUTORELOAD_PRELOAD_DISABLE;
  if (HAL_TIM_Base_Init(&htim1) != HAL_OK)
  {
    Error_Handler();
  }
  sClockSourceConfig.ClockSource = TIM_CLOCKSOURCE_INTERNAL;
  if (HAL_TIM_ConfigClockSource(&htim1, &sClockSourceConfig) != HAL_OK)
  {
    Error_Handler();
  }
  if (HAL_TIM_OC_Init(&htim1) != HAL_OK)
  {
    Error_Handler();
  }
  sMasterConfig.MasterOutputTrigger = TIM_TRGO_RESET;
  sMasterConfig.MasterOutputTrigger2 = TIM_TRGO2_RESET;
  sMasterConfig.MasterSlaveMode = TIM_MASTERSLAVEMODE_DISABLE;
  if (HAL_TIMEx_MasterConfigSynchronization(&htim1, &sMasterConfig) != HAL_OK)
  {
    Error_Handler();
  }
  sConfigOC.OCMode = TIM_OCMODE_FORCED_ACTIVE;
  sConfigOC.Pulse = 0;
  sConfigOC.OCPolarity = TIM_OCPOLARITY_LOW;
  sConfigOC.OCNPolarity = TIM_OCNPOLARITY_HIGH;
  sConfigOC.OCFastMode = TIM_OCFAST_DISABLE;
  sConfigOC.OCIdleState = TIM_OCIDLESTATE_RESET;
  sConfigOC.OCNIdleState = TIM_OCNIDLESTATE_RESET;
  if (HAL_TIM_OC_ConfigChannel(&htim1, &sConfigOC, TIM_CHANNEL_1) != HAL_OK)
  {
    Error_Handler();
  }
  if (HAL_TIM_OC_ConfigChannel(&htim1, &sConfigOC, TIM_CHANNEL_2) != HAL_OK)
  {
    Error_Handler();
  }
  if (HAL_TIM_OC_ConfigChannel(&htim1, &sConfigOC, TIM_CHANNEL_3) != HAL_OK)
  {
    Error_Handler();
  }
  if (HAL_TIM_OC_ConfigChannel(&htim1, &sConfigOC, TIM_CHANNEL_4) != HAL_OK)
  {
    Error_Handler();
  }
  sBreakDeadTimeConfig.OffStateRunMode = TIM_OSSR_DISABLE;
  sBreakDeadTimeConfig.OffStateIDLEMode = TIM_OSSI_DISABLE;
  sBreakDeadTimeConfig.LockLevel = TIM_LOCKLEVEL_OFF;
  sBreakDeadTimeConfig.DeadTime = 0;
  sBreakDeadTimeConfig.BreakState = TIM_BREAK_DISABLE;
  sBreakDeadTimeConfig.BreakPolarity = TIM_BREAKPOLARITY_HIGH;
  sBreakDeadTimeConfig.BreakFilter = 0;
  sBreakDeadTimeConfig.Break2State = TIM_BREAK2_DISABLE;
  sBreakDeadTimeConfig.Break2Polarity = TIM_BREAK2POLARITY_HIGH;
  sBreakDeadTimeConfig.Break2Filter = 0;
  sBreakDeadTimeConfig.AutomaticOutput = TIM_AUTOMATICOUTPUT_DISABLE;
  if (HAL_TIMEx_ConfigBreakDeadTime(&htim1, &sBreakDeadTimeConfig) != HAL_OK)
  {
    Error_Handler();
  }
  HAL_TIM_MspPostInit(&htim1);

}

static void MX_TIM2_Init(void)
{

  TIM_ClockConfigTypeDef sClockSourceConfig = {0};
  TIM_MasterConfigTypeDef sMasterConfig = {0};
  TIM_OC_InitTypeDef sConfigOC = {0};
  TIM_IC_InitTypeDef sConfigIC = {0};

  htim2.Instance = TIM2;
  htim2.Init.Prescaler = 0;
  htim2.Init.CounterMode = TIM_COUNTERMODE_UP;
  htim2.Init.Period = 4294967295;
  htim2.Init.ClockDivision = TIM_CLOCKDIVISION_DIV1;
  htim2.Init.AutoReloadPreload = TIM_AUTORELOAD_PRELOAD_DISABLE;
  if (HAL_TIM_Base_Init(&htim2) != HAL_OK)
  {
    Error_Handler();
  }
  sClockSourceConfig.ClockSource = TIM_CLOCKSOURCE_INTERNAL;
  if (HAL_TIM_ConfigClockSource(&htim2, &sClockSourceConfig) != HAL_OK)
  {
    Error_Handler();
  }
  if (HAL_TIM_PWM_Init(&htim2) != HAL_OK)
  {
    Error_Handler();
  }
  if (HAL_TIM_IC_Init(&htim2) != HAL_OK)
  {
    Error_Handler();
  }
  sMasterConfig.MasterOutputTrigger = TIM_TRGO_RESET;
  sMasterConfig.MasterSlaveMode = TIM_MASTERSLAVEMODE_DISABLE;
  if (HAL_TIMEx_MasterConfigSynchronization(&htim2, &sMasterConfig) != HAL_OK)
  {
    Error_Handler();
  }
  sConfigOC.OCMode = TIM_OCMODE_PWM1;
  sConfigOC.Pulse = 0;
  sConfigOC.OCPolarity = TIM_OCPOLARITY_HIGH;
  sConfigOC.OCFastMode = TIM_OCFAST_DISABLE;
  if (HAL_TIM_PWM_ConfigChannel(&htim2, &sConfigOC, TIM_CHANNEL_1) != HAL_OK)
  {
    Error_Handler();
  }
  sConfigIC.ICPolarity = TIM_INPUTCHANNELPOLARITY_RISING;
  sConfigIC.ICSelection = TIM_ICSELECTION_DIRECTTI;
  sConfigIC.ICPrescaler = TIM_ICPSC_DIV1;
  sConfigIC.ICFilter = 0;
  if (HAL_TIM_IC_ConfigChannel(&htim2, &sConfigIC, TIM_CHANNEL_3) != HAL_OK)
  {
    Error_Handler();
  }
  HAL_TIM_MspPostInit(&htim2);

}

static void MX_TIM3_Init(void)
{

  TIM_Encoder_InitTypeDef sConfig = {0};
  TIM_MasterConfigTypeDef sMasterConfig = {0};

  htim3.Instance = TIM3;
  htim3.Init.Prescaler = 0;
  htim3.Init.CounterMode = TIM_COUNTERMODE_UP;
  htim3.Init.Period = TIM3_ARR_VALUE;
  htim3.Init.ClockDivision = TIM_CLOCKDIVISION_DIV1;
  htim3.Init.AutoReloadPreload = TIM_AUTORELOAD_PRELOAD_DISABLE;
  sConfig.EncoderMode = TIM_ENCODERMODE_TI12;
  sConfig.IC1Polarity = TIM_ICPOLARITY_RISING;
  sConfig.IC1Selection = TIM_ICSELECTION_DIRECTTI;
  sConfig.IC1Prescaler = TIM_ICPSC_DIV1;
  sConfig.IC1Filter = 15;
  sConfig.IC2Polarity = TIM_ICPOLARITY_RISING;
  sConfig.IC2Selection = TIM_ICSELECTION_DIRECTTI;
  sConfig.IC2Prescaler = TIM_ICPSC_DIV1;
  sConfig.IC2Filter = 15;
  if (HAL_TIM_Encoder_Init(&htim3, &sConfig) != HAL_OK)
  {
    Error_Handler();
  }
  sMasterConfig.MasterOutputTrigger = TIM_TRGO_RESET;
  sMasterConfig.MasterSlaveMode = TIM_MASTERSLAVEMODE_DISABLE;
  if (HAL_TIMEx_MasterConfigSynchronization(&htim3, &sMasterConfig) != HAL_OK)
  {
    Error_Handler();
  }

}

static void MX_TIM4_Init(void)
{

  TIM_Encoder_InitTypeDef sConfig = {0};
  TIM_MasterConfigTypeDef sMasterConfig = {0};

  htim4.Instance = TIM4;
  htim4.Init.Prescaler = 0;
  htim4.Init.CounterMode = TIM_COUNTERMODE_UP;
  htim4.Init.Period = TIM4_ARR_VALUE;
  htim4.Init.ClockDivision = TIM_CLOCKDIVISION_DIV1;
  htim4.Init.AutoReloadPreload = TIM_AUTORELOAD_PRELOAD_DISABLE;
  sConfig.EncoderMode = TIM_ENCODERMODE_TI12;
  sConfig.IC1Polarity = TIM_ICPOLARITY_RISING;
  sConfig.IC1Selection = TIM_ICSELECTION_DIRECTTI;
  sConfig.IC1Prescaler = TIM_ICPSC_DIV1;
  sConfig.IC1Filter = 15;
  sConfig.IC2Polarity = TIM_ICPOLARITY_RISING;
  sConfig.IC2Selection = TIM_ICSELECTION_DIRECTTI;
  sConfig.IC2Prescaler = TIM_ICPSC_DIV1;
  sConfig.IC2Filter = 15;
  if (HAL_TIM_Encoder_Init(&htim4, &sConfig) != HAL_OK)
  {
    Error_Handler();
  }
  sMasterConfig.MasterOutputTrigger = TIM_TRGO_RESET;
  sMasterConfig.MasterSlaveMode = TIM_MASTERSLAVEMODE_DISABLE;
  if (HAL_TIMEx_MasterConfigSynchronization(&htim4, &sMasterConfig) != HAL_OK)
  {
    Error_Handler();
  }

}

static void MX_TIM5_Init(void)
{

  TIM_ClockConfigTypeDef sClockSourceConfig = {0};
  TIM_MasterConfigTypeDef sMasterConfig = {0};
  TIM_OC_InitTypeDef sConfigOC = {0};

  htim5.Instance = TIM5;
  htim5.Init.Prescaler = 0;
  htim5.Init.CounterMode = TIM_COUNTERMODE_UP;
  htim5.Init.Period = 4294967295;
  htim5.Init.ClockDivision = TIM_CLOCKDIVISION_DIV1;
  htim5.Init.AutoReloadPreload = TIM_AUTORELOAD_PRELOAD_DISABLE;
  if (HAL_TIM_Base_Init(&htim5) != HAL_OK)
  {
    Error_Handler();
  }
  sClockSourceConfig.ClockSource = TIM_CLOCKSOURCE_INTERNAL;
  if (HAL_TIM_ConfigClockSource(&htim5, &sClockSourceConfig) != HAL_OK)
  {
    Error_Handler();
  }
  if (HAL_TIM_PWM_Init(&htim5) != HAL_OK)
  {
    Error_Handler();
  }
  sMasterConfig.MasterOutputTrigger = TIM_TRGO_RESET;
  sMasterConfig.MasterSlaveMode = TIM_MASTERSLAVEMODE_DISABLE;
  if (HAL_TIMEx_MasterConfigSynchronization(&htim5, &sMasterConfig) != HAL_OK)
  {
    Error_Handler();
  }
  sConfigOC.OCMode = TIM_OCMODE_PWM1;
  sConfigOC.Pulse = 0;
  sConfigOC.OCPolarity = TIM_OCPOLARITY_HIGH;
  sConfigOC.OCFastMode = TIM_OCFAST_DISABLE;
  if (HAL_TIM_PWM_ConfigChannel(&htim5, &sConfigOC, TIM_CHANNEL_1) != HAL_OK)
  {
    Error_Handler();
  }
  HAL_TIM_MspPostInit(&htim5);

}

static void MX_TIM6_Init(void)
{

  TIM_MasterConfigTypeDef sMasterConfig = {0};

  htim6.Instance = TIM6;
  htim6.Init.Prescaler = TIM6_PSC_VALUE;
  htim6.Init.CounterMode = TIM_COUNTERMODE_UP;
  htim6.Init.Period = TIM6_ARR_VALUE;
  htim6.Init.AutoReloadPreload = TIM_AUTORELOAD_PRELOAD_DISABLE;
  if (HAL_TIM_Base_Init(&htim6) != HAL_OK)
  {
    Error_Handler();
  }
  sMasterConfig.MasterOutputTrigger = TIM_TRGO_RESET;
  sMasterConfig.MasterSlaveMode = TIM_MASTERSLAVEMODE_DISABLE;
  if (HAL_TIMEx_MasterConfigSynchronization(&htim6, &sMasterConfig) != HAL_OK)
  {
    Error_Handler();
  }

}

static void MX_TIM8_Init(void)
{

  TIM_ClockConfigTypeDef sClockSourceConfig = {0};
  TIM_MasterConfigTypeDef sMasterConfig = {0};
  TIM_OC_InitTypeDef sConfigOC = {0};
  TIM_BreakDeadTimeConfigTypeDef sBreakDeadTimeConfig = {0};

  htim8.Instance = TIM8;
  htim8.Init.Prescaler = TIM8_PSC_VALUE;
  htim8.Init.CounterMode = TIM_COUNTERMODE_UP;
  htim8.Init.Period = TIM8_ARR_VALUE;
  htim8.Init.ClockDivision = TIM_CLOCKDIVISION_DIV1;
  htim8.Init.RepetitionCounter = 0;
  htim8.Init.AutoReloadPreload = TIM_AUTORELOAD_PRELOAD_DISABLE;
  if (HAL_TIM_Base_Init(&htim8) != HAL_OK)
  {
    Error_Handler();
  }
  sClockSourceConfig.ClockSource = TIM_CLOCKSOURCE_INTERNAL;
  if (HAL_TIM_ConfigClockSource(&htim8, &sClockSourceConfig) != HAL_OK)
  {
    Error_Handler();
  }
  if (HAL_TIM_PWM_Init(&htim8) != HAL_OK)
  {
    Error_Handler();
  }
  sMasterConfig.MasterOutputTrigger = TIM_TRGO_RESET;
  sMasterConfig.MasterOutputTrigger2 = TIM_TRGO2_RESET;
  sMasterConfig.MasterSlaveMode = TIM_MASTERSLAVEMODE_DISABLE;
  if (HAL_TIMEx_MasterConfigSynchronization(&htim8, &sMasterConfig) != HAL_OK)
  {
    Error_Handler();
  }
  sConfigOC.OCMode = TIM_OCMODE_PWM1;
  sConfigOC.Pulse = 0;
  sConfigOC.OCPolarity = TIM_OCPOLARITY_HIGH;
  sConfigOC.OCNPolarity = TIM_OCNPOLARITY_HIGH;
  sConfigOC.OCFastMode = TIM_OCFAST_DISABLE;
  sConfigOC.OCIdleState = TIM_OCIDLESTATE_RESET;
  sConfigOC.OCNIdleState = TIM_OCNIDLESTATE_RESET;
  if (HAL_TIM_PWM_ConfigChannel(&htim8, &sConfigOC, TIM_CHANNEL_1) != HAL_OK)
  {
    Error_Handler();
  }
  if (HAL_TIM_PWM_ConfigChannel(&htim8, &sConfigOC, TIM_CHANNEL_2) != HAL_OK)
  {
    Error_Handler();
  }
  if (HAL_TIM_PWM_ConfigChannel(&htim8, &sConfigOC, TIM_CHANNEL_3) != HAL_OK)
  {
    Error_Handler();
  }
  if (HAL_TIM_PWM_ConfigChannel(&htim8, &sConfigOC, TIM_CHANNEL_4) != HAL_OK)
  {
    Error_Handler();
  }
  sBreakDeadTimeConfig.OffStateRunMode = TIM_OSSR_DISABLE;
  sBreakDeadTimeConfig.OffStateIDLEMode = TIM_OSSI_DISABLE;
  sBreakDeadTimeConfig.LockLevel = TIM_LOCKLEVEL_OFF;
  sBreakDeadTimeConfig.DeadTime = 0;
  sBreakDeadTimeConfig.BreakState = TIM_BREAK_DISABLE;
  sBreakDeadTimeConfig.BreakPolarity = TIM_BREAKPOLARITY_HIGH;
  sBreakDeadTimeConfig.BreakFilter = 0;
  sBreakDeadTimeConfig.Break2State = TIM_BREAK2_DISABLE;
  sBreakDeadTimeConfig.Break2Polarity = TIM_BREAK2POLARITY_HIGH;
  sBreakDeadTimeConfig.Break2Filter = 0;
  sBreakDeadTimeConfig.AutomaticOutput = TIM_AUTOMATICOUTPUT_DISABLE;
  if (HAL_TIMEx_ConfigBreakDeadTime(&htim8, &sBreakDeadTimeConfig) != HAL_OK)
  {
    Error_Handler();
  }
  HAL_TIM_MspPostInit(&htim8);

}

static void MX_TIM9_Init(void)
{

  TIM_OC_InitTypeDef sConfigOC = {0};

  htim9.Instance = TIM9;
  htim9.Init.Prescaler = 0;
  htim9.Init.CounterMode = TIM_COUNTERMODE_UP;
  htim9.Init.Period = 65535;
  htim9.Init.ClockDivision = TIM_CLOCKDIVISION_DIV1;
  htim9.Init.AutoReloadPreload = TIM_AUTORELOAD_PRELOAD_DISABLE;
  if (HAL_TIM_PWM_Init(&htim9) != HAL_OK)
  {
    Error_Handler();
  }
  sConfigOC.OCMode = TIM_OCMODE_PWM1;
  sConfigOC.Pulse = 0;
  sConfigOC.OCPolarity = TIM_OCPOLARITY_HIGH;
  sConfigOC.OCFastMode = TIM_OCFAST_DISABLE;
  if (HAL_TIM_PWM_ConfigChannel(&htim9, &sConfigOC, TIM_CHANNEL_1) != HAL_OK)
  {
    Error_Handler();
  }
  if (HAL_TIM_PWM_ConfigChannel(&htim9, &sConfigOC, TIM_CHANNEL_2) != HAL_OK)
  {
    Error_Handler();
  }
  HAL_TIM_MspPostInit(&htim9);

}

static void MX_UART4_Init(void)
{

  huart4.Instance = UART4;
  huart4.Init.BaudRate = 9600;
  huart4.Init.WordLength = UART_WORDLENGTH_8B;
  huart4.Init.StopBits = UART_STOPBITS_1;
  huart4.Init.Parity = UART_PARITY_NONE;
  huart4.Init.Mode = UART_MODE_TX_RX;
  huart4.Init.HwFlowCtl = UART_HWCONTROL_NONE;
  huart4.Init.OverSampling = UART_OVERSAMPLING_16;
  huart4.Init.OneBitSampling = UART_ONE_BIT_SAMPLE_DISABLE;
  huart4.AdvancedInit.AdvFeatureInit = UART_ADVFEATURE_NO_INIT;
  if (HAL_UART_Init(&huart4) != HAL_OK)
  {
    Error_Handler();
  }

}

static void MX_UART5_Init(void)
{

  huart5.Instance = UART5;
  huart5.Init.BaudRate = 115200;
  huart5.Init.WordLength = UART_WORDLENGTH_8B;
  huart5.Init.StopBits = UART_STOPBITS_1;
  huart5.Init.Parity = UART_PARITY_NONE;
  huart5.Init.Mode = UART_MODE_TX_RX;
  huart5.Init.HwFlowCtl = UART_HWCONTROL_NONE;
  huart5.Init.OverSampling = UART_OVERSAMPLING_16;
  huart5.Init.OneBitSampling = UART_ONE_BIT_SAMPLE_DISABLE;
  huart5.AdvancedInit.AdvFeatureInit = UART_ADVFEATURE_NO_INIT;
  if (HAL_UART_Init(&huart5) != HAL_OK)
  {
    Error_Handler();
  }

}

static void MX_USART1_UART_Init(void)
{

  huart1.Instance = USART1;
  huart1.Init.BaudRate = 115200;
  huart1.Init.WordLength = UART_WORDLENGTH_8B;
  huart1.Init.StopBits = UART_STOPBITS_1;
  huart1.Init.Parity = UART_PARITY_NONE;
  huart1.Init.Mode = UART_MODE_TX_RX;
  huart1.Init.HwFlowCtl = UART_HWCONTROL_NONE;
  huart1.Init.OverSampling = UART_OVERSAMPLING_16;
  huart1.Init.OneBitSampling = UART_ONE_BIT_SAMPLE_DISABLE;
  huart1.AdvancedInit.AdvFeatureInit = UART_ADVFEATURE_NO_INIT;
  if (HAL_UART_Init(&huart1) != HAL_OK)
  {
    Error_Handler();
  }

}

static void MX_USART2_UART_Init(void)
{

  huart2.Instance = USART2;
  huart2.Init.BaudRate = 1000000;
  huart2.Init.WordLength = UART_WORDLENGTH_8B;
  huart2.Init.StopBits = UART_STOPBITS_1;
  huart2.Init.Parity = UART_PARITY_NONE;
  huart2.Init.Mode = UART_MODE_TX_RX;
  huart2.Init.HwFlowCtl = UART_HWCONTROL_NONE;
  huart2.Init.OverSampling = UART_OVERSAMPLING_16;
  huart2.Init.OneBitSampling = UART_ONE_BIT_SAMPLE_DISABLE;
  huart2.AdvancedInit.AdvFeatureInit = UART_ADVFEATURE_NO_INIT;
  if (HAL_UART_Init(&huart2) != HAL_OK)
  {
    Error_Handler();
  }

}

static void MX_USART3_UART_Init(void)
{

  huart3.Instance = USART3;
  huart3.Init.BaudRate = 115200;
  huart3.Init.WordLength = UART_WORDLENGTH_8B;
  huart3.Init.StopBits = UART_STOPBITS_1;
  huart3.Init.Parity = UART_PARITY_NONE;
  huart3.Init.Mode = UART_MODE_TX_RX;
  huart3.Init.HwFlowCtl = UART_HWCONTROL_NONE;
  huart3.Init.OverSampling = UART_OVERSAMPLING_16;
  huart3.Init.OneBitSampling = UART_ONE_BIT_SAMPLE_DISABLE;
  huart3.AdvancedInit.AdvFeatureInit = UART_ADVFEATURE_NO_INIT;
  if (HAL_UART_Init(&huart3) != HAL_OK)
  {
    Error_Handler();
  }

}

static void MX_GPIO_Init(void)
{
  GPIO_InitTypeDef GPIO_InitStruct = {0};

  /* GPIO Ports Clock Enable */
  __HAL_RCC_GPIOE_CLK_ENABLE();
  __HAL_RCC_GPIOC_CLK_ENABLE();
  __HAL_RCC_GPIOF_CLK_ENABLE();
  __HAL_RCC_GPIOH_CLK_ENABLE();
  __HAL_RCC_GPIOA_CLK_ENABLE();
  __HAL_RCC_GPIOB_CLK_ENABLE();
  __HAL_RCC_GPIOD_CLK_ENABLE();
  __HAL_RCC_GPIOG_CLK_ENABLE();

  /*Configure GPIO pin Output Level */
  HAL_GPIO_WritePin(GPIOE, GPIO_OUT_SPI_CS_SDCARD_Pin|GPIO_OUT_SPI_CS_LCD_Pin, GPIO_PIN_RESET);

  /*Configure GPIO pin Output Level */
  HAL_GPIO_WritePin(GPIOB, LD1_Pin|LD3_Pin|LD2_Pin, GPIO_PIN_RESET);

  /*Configure GPIO pin Output Level */
  HAL_GPIO_WritePin(GPIOG, GPIO_PIN_6, GPIO_PIN_RESET);

  /*Configure GPIO pins : GPIO_OUT_SPI_CS_SDCARD_Pin GPIO_OUT_SPI_CS_LCD_Pin */
  GPIO_InitStruct.Pin = GPIO_OUT_SPI_CS_SDCARD_Pin|GPIO_OUT_SPI_CS_LCD_Pin;
  GPIO_InitStruct.Mode = GPIO_MODE_OUTPUT_PP;
  GPIO_InitStruct.Pull = GPIO_NOPULL;
  GPIO_InitStruct.Speed = GPIO_SPEED_FREQ_LOW;
  HAL_GPIO_Init(GPIOE, &GPIO_InitStruct);

  /*Configure GPIO pins : GPIO_EXTI2_PROXY_TOF_SENS_IRQ_Pin GPIO_EXTI3_IMU_IRQ_Pin GPIO_EXTI4_KPAD_IRQ_Pin GPIO_EXTI8_USER_BUT1_IRQ_Pin
                           GPIO_EXTI9_USER_BUT2_IRQ_Pin GPIO_EXTI10_BUMP1_IRQ_Pin GPIO_EXTI11_BUMP2_IRQ_Pin GPIO_EXTI12_BUMP3_IRQ_Pin
                           GPIO_EXTI13_BUMP4_IRQ_Pin */
  GPIO_InitStruct.Pin = GPIO_EXTI2_PROXY_TOF_SENS_IRQ_Pin|GPIO_EXTI3_IMU_IRQ_Pin|GPIO_EXTI4_KPAD_IRQ_Pin|GPIO_EXTI8_USER_BUT1_IRQ_Pin
                          |GPIO_EXTI9_USER_BUT2_IRQ_Pin|GPIO_EXTI10_BUMP1_IRQ_Pin|GPIO_EXTI11_BUMP2_IRQ_Pin|GPIO_EXTI12_BUMP3_IRQ_Pin
                          |GPIO_EXTI13_BUMP4_IRQ_Pin;
  GPIO_InitStruct.Mode = GPIO_MODE_IT_RISING;
  GPIO_InitStruct.Pull = GPIO_NOPULL;
  HAL_GPIO_Init(GPIOF, &GPIO_InitStruct);

  /*Configure GPIO pins : RMII_MDC_Pin RMII_RXD0_Pin RMII_RXD1_Pin */
  GPIO_InitStruct.Pin = RMII_MDC_Pin|RMII_RXD0_Pin|RMII_RXD1_Pin;
  GPIO_InitStruct.Mode = GPIO_MODE_AF_PP;
  GPIO_InitStruct.Pull = GPIO_NOPULL;
  GPIO_InitStruct.Speed = GPIO_SPEED_FREQ_VERY_HIGH;
  GPIO_InitStruct.Alternate = GPIO_AF11_ETH;
  HAL_GPIO_Init(GPIOC, &GPIO_InitStruct);

  /*Configure GPIO pins : RMII_REF_CLK_Pin RMII_MDIO_Pin RMII_CRS_DV_Pin */
  GPIO_InitStruct.Pin = RMII_REF_CLK_Pin|RMII_MDIO_Pin|RMII_CRS_DV_Pin;
  GPIO_InitStruct.Mode = GPIO_MODE_AF_PP;
  GPIO_InitStruct.Pull = GPIO_NOPULL;
  GPIO_InitStruct.Speed = GPIO_SPEED_FREQ_VERY_HIGH;
  GPIO_InitStruct.Alternate = GPIO_AF11_ETH;
  HAL_GPIO_Init(GPIOA, &GPIO_InitStruct);

  /*Configure GPIO pins : LD1_Pin LD3_Pin LD2_Pin */
  GPIO_InitStruct.Pin = LD1_Pin|LD3_Pin|LD2_Pin;
  GPIO_InitStruct.Mode = GPIO_MODE_OUTPUT_PP;
  GPIO_InitStruct.Pull = GPIO_NOPULL;
  GPIO_InitStruct.Speed = GPIO_SPEED_FREQ_LOW;
  HAL_GPIO_Init(GPIOB, &GPIO_InitStruct);

  /*Configure GPIO pin : RMII_TXD1_Pin */
  GPIO_InitStruct.Pin = RMII_TXD1_Pin;
  GPIO_InitStruct.Mode = GPIO_MODE_AF_PP;
  GPIO_InitStruct.Pull = GPIO_NOPULL;
  GPIO_InitStruct.Speed = GPIO_SPEED_FREQ_VERY_HIGH;
  GPIO_InitStruct.Alternate = GPIO_AF11_ETH;
  HAL_GPIO_Init(RMII_TXD1_GPIO_Port, &GPIO_InitStruct);

  /*Configure GPIO pin : PG6 */
  GPIO_InitStruct.Pin = GPIO_PIN_6;
  GPIO_InitStruct.Mode = GPIO_MODE_OUTPUT_PP;
  GPIO_InitStruct.Pull = GPIO_NOPULL;
  GPIO_InitStruct.Speed = GPIO_SPEED_FREQ_LOW;
  HAL_GPIO_Init(GPIOG, &GPIO_InitStruct);

  /*Configure GPIO pin : USB_OverCurrent_Pin */
  GPIO_InitStruct.Pin = USB_OverCurrent_Pin;
  GPIO_InitStruct.Mode = GPIO_MODE_INPUT;
  GPIO_InitStruct.Pull = GPIO_NOPULL;
  HAL_GPIO_Init(USB_OverCurrent_GPIO_Port, &GPIO_InitStruct);

  /*Configure GPIO pins : USB_SOF_Pin USB_ID_Pin USB_DM_Pin USB_DP_Pin */
  GPIO_InitStruct.Pin = USB_SOF_Pin|USB_ID_Pin|USB_DM_Pin|USB_DP_Pin;
  GPIO_InitStruct.Mode = GPIO_MODE_AF_PP;
  GPIO_InitStruct.Pull = GPIO_NOPULL;
  GPIO_InitStruct.Speed = GPIO_SPEED_FREQ_VERY_HIGH;
  GPIO_InitStruct.Alternate = GPIO_AF10_OTG_FS;
  HAL_GPIO_Init(GPIOA, &GPIO_InitStruct);

  /*Configure GPIO pin : USB_VBUS_Pin */
  GPIO_InitStruct.Pin = USB_VBUS_Pin;
  GPIO_InitStruct.Mode = GPIO_MODE_INPUT;
  GPIO_InitStruct.Pull = GPIO_NOPULL;
  HAL_GPIO_Init(USB_VBUS_GPIO_Port, &GPIO_InitStruct);

  /*Configure GPIO pins : RMII_TX_EN_Pin RMII_TXD0_Pin */
  GPIO_InitStruct.Pin = RMII_TX_EN_Pin|RMII_TXD0_Pin;
  GPIO_InitStruct.Mode = GPIO_MODE_AF_PP;
  GPIO_InitStruct.Pull = GPIO_NOPULL;
  GPIO_InitStruct.Speed = GPIO_SPEED_FREQ_VERY_HIGH;
  GPIO_InitStruct.Alternate = GPIO_AF11_ETH;
  HAL_GPIO_Init(GPIOG, &GPIO_InitStruct);

  /* EXTI interrupt init*/
  HAL_NVIC_SetPriority(EXTI9_5_IRQn, 0, 0);
  HAL_NVIC_EnableIRQ(EXTI9_5_IRQn);

}

/* USER CODE BEGIN 4 */
int _write(int file, char *ptr, int len)
{
	int DataIdx;

	for (DataIdx = 0; DataIdx < len; DataIdx++)
	{
		ITM_SendChar(*ptr++);
	}
	return len;
}

/*
 TIM_CLOCK = APB_TIM_CLOCK / PRESCALER
 FREQUENCY = TIM_CLOCK / ARR
 DUTY = (CCRx / ARR) x 100
 CCRx = (DUTY / 100) x ARR ; where CCRx is the __COMPARE__ for the TIME_SET_COMPARE macro
 ARR is the Counter Period (AutoReload Register)
 */
/*
void update_motor(float speed, MotorID motor_id, SpeedType speed_type)
{
	int32_t ARR = __HAL_TIM_GET_AUTORELOAD(&htim8) + 1;

	int32_t pwm_output;
	uint8_t channel1 = TIM_CHANNEL_1;
	uint8_t channel2 = TIM_CHANNEL_2;

	if (motor_id == MOTOR_B) {
		channel1 = TIM_CHANNEL_3;
		channel2 = TIM_CHANNEL_4;
	}

	if (speed_type == SPEED_DUTY_TYPE)
		pwm_output = (int32_t)(speed * ARR);
	else
		pwm_output = (int32_t)(speed * V2DUTY);

	// Don't go over period count
	if (pwm_output > ARR) {
		pwm_output = ARR;
	} else if (pwm_output < (-ARR)) {
		pwm_output = ARR; //cast it to int32 bcz unsigned
	}

	if (speed > 0) { // Rotate forward
		__HAL_TIM_SET_COMPARE(&htim8, channel1, pwm_output);
		__HAL_TIM_SET_COMPARE(&htim8, channel2, 0);
	} else if (speed < 0) { // Rotate backward
		__HAL_TIM_SET_COMPARE(&htim8, channel1, 0);
		__HAL_TIM_SET_COMPARE(&htim8, channel2, (-pwm_output));
	} else { // Stop
		__HAL_TIM_SET_COMPARE(&htim8, channel1, 0);
		__HAL_TIM_SET_COMPARE(&htim8, channel2, 0);
	}
}*/
/* USER CODE END 4 */

void Error_Handler(void)
{
	__disable_irq();
	while (1)
	{
	}
}
